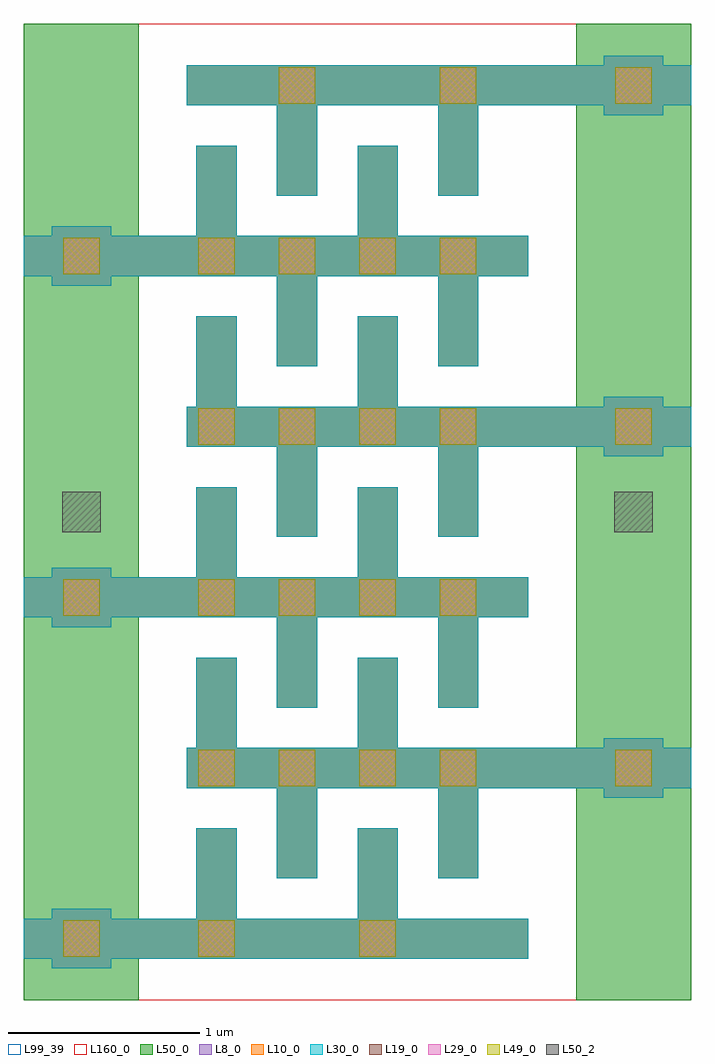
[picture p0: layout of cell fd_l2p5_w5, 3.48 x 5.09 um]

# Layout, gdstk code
import gdstk
lib = gdstk.Library(unit=1e-6, precision=1e-09)
def R(c, l, rs):  # rectangles x0, y0, x1, y1
    for r in rs: c.add(gdstk.rectangle(r[:2], r[2:], *l))
def A(c, l, x, y, w, h, nx, ny, dx, dy):  # array of equal rectangles
    R(c, l, [(x+i*dx, y+j*dy, x+i*dx+w, y+j*dy+h) for i in range(nx) for j in range(ny)])
L8_0 = (8, 0)
L10_0 = (10, 0)
L19_0 = (19, 0)
L29_0 = (29, 0)
L30_0 = (30, 0)
L49_0 = (49, 0)
L50_0 = (50, 0)
L50_2 = (50, 2)
L99_39 = (99, 39)
L160_0 = (160, 0)

fd_l2p5_w5 = lib.new_cell('fd_l2p5_w5')
A(fd_l2p5_w5, L8_0, -0.755, -0.155, 0.31, 0.31, 1, 3, 0, 1.78)
A(fd_l2p5_w5, L8_0, -0.9, -0.105, 2.63, 0.21, 1, 3, 0, 1.78)
A(fd_l2p5_w5, L8_0, 0, 0, 0.21, 0.575, 1, 5, 0, 0.89)
A(fd_l2p5_w5, L8_0, 0.84, 0, 0.21, 0.575, 1, 5, 0, 0.89)
A(fd_l2p5_w5, L8_0, 0.42, 0.315, 0.21, 0.575, 1, 5, 0, 0.89)
A(fd_l2p5_w5, L8_0, 1.26, 0.315, 0.21, 0.575, 1, 5, 0, 0.89)
A(fd_l2p5_w5, L8_0, 2.125, 0.735, 0.31, 0.31, 1, 3, 0, 1.78)
A(fd_l2p5_w5, L8_0, -0.05, 0.785, 2.63, 0.21, 1, 3, 0, 1.78)
A(fd_l2p5_w5, L10_0, -0.755, -0.155, 0.31, 0.31, 1, 3, 0, 1.78)
A(fd_l2p5_w5, L10_0, -0.9, -0.105, 2.63, 0.21, 1, 3, 0, 1.78)
A(fd_l2p5_w5, L10_0, 0, 0, 0.21, 0.575, 1, 5, 0, 0.89)
A(fd_l2p5_w5, L10_0, 0.84, 0, 0.21, 0.575, 1, 5, 0, 0.89)
A(fd_l2p5_w5, L10_0, 0.42, 0.315, 0.21, 0.575, 1, 5, 0, 0.89)
A(fd_l2p5_w5, L10_0, 1.26, 0.315, 0.21, 0.575, 1, 5, 0, 0.89)
A(fd_l2p5_w5, L10_0, 2.125, 0.735, 0.31, 0.31, 1, 3, 0, 1.78)
A(fd_l2p5_w5, L10_0, -0.05, 0.785, 2.63, 0.21, 1, 3, 0, 1.78)
A(fd_l2p5_w5, L19_0, -0.695, -0.095, 0.19, 0.19, 1, 3, 0, 1.78)
A(fd_l2p5_w5, L19_0, 0.01, 0.795, 0.19, 0.19, 4, 4, 0.42, 0.89)
A(fd_l2p5_w5, L19_0, 2.185, 0.795, 0.19, 0.19, 1, 3, 0, 1.78)
R(fd_l2p5_w5, L19_0, [(0.01,-0.095,0.2,0.095), (0.85,-0.095,1.04,0.095), (0.43,4.355,0.62,4.545), (1.27,4.355,1.46,4.545)])
A(fd_l2p5_w5, L29_0, -0.695, -0.095, 0.19, 0.19, 1, 3, 0, 1.78)
A(fd_l2p5_w5, L29_0, 0.01, 0.795, 0.19, 0.19, 4, 4, 0.42, 0.89)
A(fd_l2p5_w5, L29_0, 2.185, 0.795, 0.19, 0.19, 1, 3, 0, 1.78)
R(fd_l2p5_w5, L29_0, [(0.01,-0.095,0.2,0.095), (0.85,-0.095,1.04,0.095), (0.43,4.355,0.62,4.545), (1.27,4.355,1.46,4.545)])
A(fd_l2p5_w5, L30_0, -0.755, -0.155, 0.31, 0.31, 1, 3, 0, 1.78)
A(fd_l2p5_w5, L30_0, -0.9, -0.105, 2.63, 0.21, 1, 3, 0, 1.78)
A(fd_l2p5_w5, L30_0, 0, 0, 0.21, 0.575, 1, 5, 0, 0.89)
A(fd_l2p5_w5, L30_0, 0.84, 0, 0.21, 0.575, 1, 5, 0, 0.89)
A(fd_l2p5_w5, L30_0, 0.42, 0.315, 0.21, 0.575, 1, 5, 0, 0.89)
A(fd_l2p5_w5, L30_0, 1.26, 0.315, 0.21, 0.575, 1, 5, 0, 0.89)
A(fd_l2p5_w5, L30_0, 2.125, 0.735, 0.31, 0.31, 1, 3, 0, 1.78)
A(fd_l2p5_w5, L30_0, -0.05, 0.785, 2.63, 0.21, 1, 3, 0, 1.78)
A(fd_l2p5_w5, L49_0, -0.695, -0.095, 0.19, 0.19, 1, 3, 0, 1.78)
A(fd_l2p5_w5, L49_0, 0.01, 0.795, 0.19, 0.19, 4, 4, 0.42, 0.89)
A(fd_l2p5_w5, L49_0, 2.185, 0.795, 0.19, 0.19, 1, 3, 0, 1.78)
R(fd_l2p5_w5, L49_0, [(0.01,-0.095,0.2,0.095), (0.85,-0.095,1.04,0.095), (0.43,4.355,0.62,4.545), (1.27,4.355,1.46,4.545)])
A(fd_l2p5_w5, L50_0, -0.9, -0.105, 2.63, 0.21, 1, 3, 0, 1.78)
A(fd_l2p5_w5, L50_0, 0, 0, 0.21, 0.575, 1, 5, 0, 0.89)
A(fd_l2p5_w5, L50_0, 0.84, 0, 0.21, 0.575, 1, 5, 0, 0.89)
A(fd_l2p5_w5, L50_0, 0.42, 0.315, 0.21, 0.575, 1, 5, 0, 0.89)
A(fd_l2p5_w5, L50_0, 1.26, 0.315, 0.21, 0.575, 1, 5, 0, 0.89)
A(fd_l2p5_w5, L50_0, -0.05, 0.785, 2.63, 0.21, 1, 3, 0, 1.78)
R(fd_l2p5_w5, L50_0, [(-0.9,-0.32,-0.3,4.77), (1.98,-0.32,2.58,4.77)])
R(fd_l2p5_w5, L50_2, [(-0.7,2.12,-0.5,2.33), (2.18,2.12,2.38,2.33)])
R(fd_l2p5_w5, L99_39, [(-0.9,-0.32,2.58,4.77)])
R(fd_l2p5_w5, L160_0, [(-0.9,-0.32,2.58,4.77)])
fd_l2p5_w5.add(gdstk.Label('cap_cmomi C=6.519fF', (-0.9,-0.82), layer=63, texttype=0))

lib.write_gds('fd_l2p5_w5.gds')
